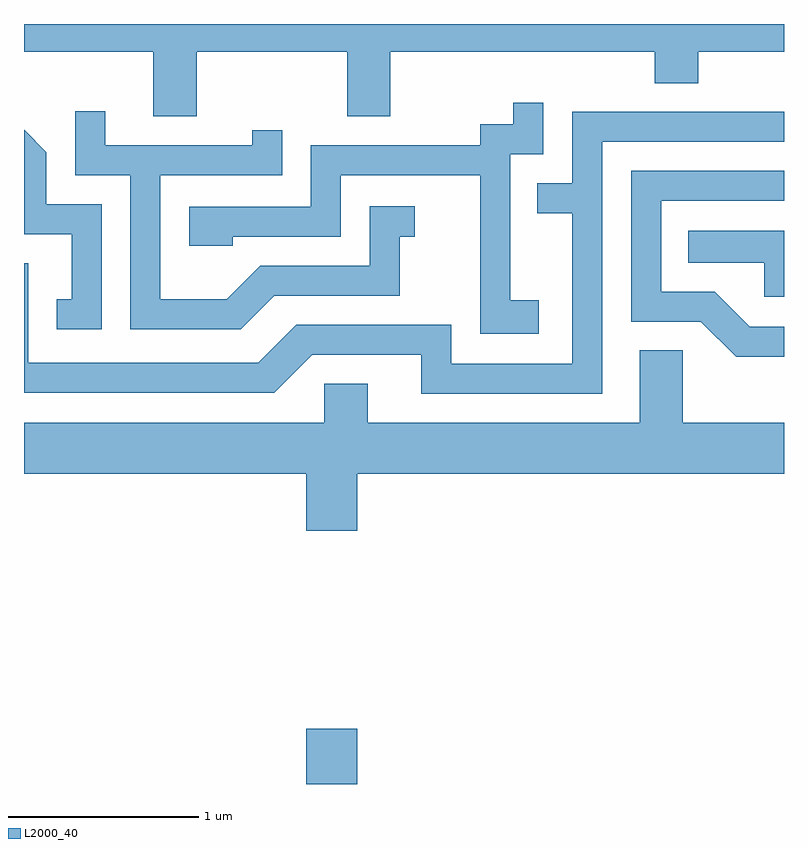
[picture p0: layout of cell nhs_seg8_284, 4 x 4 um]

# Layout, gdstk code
import gdstk
lib = gdstk.Library(unit=1e-6, precision=1e-09)
def R(c, l, rs):  # rectangles x0, y0, x1, y1
    for r in rs: c.add(gdstk.rectangle(r[:2], r[2:], *l))
def P(c, l, *ps):  # polygons
    for p in ps: c.add(gdstk.Polygon(p, *l))
L2000_40 = (2000, 40)

nhs_seg8_284 = lib.new_cell('nhs_seg8_284')
R(nhs_seg8_284, L2000_40, [(195.096,1830.342,195.364,1830.634)])
P(nhs_seg8_284, L2000_40, [(194.519,1834.196),(195.311,1834.196),(195.311,1833.856),(195.539,1833.856),(195.539,1834.196),(196.931,1834.196),(196.931,1834.031),(197.159,1834.031),(197.159,1834.196),(197.611,1834.196),(197.611,1834.342),(193.611,1834.342),(193.611,1834.196),(194.291,1834.196),(194.291,1833.856),(194.519,1833.856)],
  [(196.319,1832.889),(196.169,1832.889),(196.169,1833.656),(196.344,1833.656),(196.344,1833.928),(196.186,1833.928),(196.186,1833.814),(196.011,1833.814),(196.011,1833.704),(195.121,1833.704),(195.121,1833.379),(194.481,1833.379),(194.481,1833.176),(194.709,1833.176),(194.709,1833.221),(195.279,1833.221),(195.279,1833.546),(196.011,1833.546),(196.011,1832.711),(196.319,1832.711)],
  [(194.927,1832.911),(195.589,1832.911),(195.589,1833.221),(195.668,1833.221),(195.668,1833.384),(195.431,1833.384),(195.431,1833.069),(194.854,1833.069),(194.679,1832.894),(194.329,1832.894),(194.329,1833.546),(194.969,1833.546),(194.969,1833.783),(194.811,1833.783),(194.811,1833.704),(194.039,1833.704),(194.039,1833.883),(193.881,1833.883),(193.881,1833.546),(194.171,1833.546),(194.171,1832.736),(194.752,1832.736)],
  [(196.654,1833.721),(197.611,1833.721),(197.611,1833.879),(196.496,1833.879),(196.496,1833.504),(196.313,1833.504),(196.313,1833.346),(196.496,1833.346),(196.496,1832.554),(195.859,1832.554),(195.859,1832.759),(195.044,1832.759),(194.844,1832.559),(193.634,1832.559),(193.634,1833.084),(193.611,1833.084),(193.611,1832.401),(194.927,1832.401),(195.127,1832.601),(195.701,1832.601),(195.701,1832.396),(196.654,1832.396)],
  [(194.019,1833.394),(193.729,1833.394),(193.729,1833.667),(193.611,1833.785),(193.611,1833.236),(193.861,1833.236),(193.861,1832.894),(193.783,1832.894),(193.783,1832.736),(194.019,1832.736)],
  [(197.611,1832.749),(197.432,1832.749),(197.247,1832.934),(196.964,1832.934),(196.964,1833.411),(197.611,1833.411),(197.611,1833.569),(196.806,1833.569),(196.806,1832.776),(197.174,1832.776),(197.359,1832.591),(197.611,1832.591)],
  [(197.611,1833.254),(197.108,1833.254),(197.108,1833.086),(197.506,1833.086),(197.506,1832.906),(197.611,1832.906)],
  [(195.364,1831.976),(197.611,1831.976),(197.611,1832.244),(197.079,1832.244),(197.079,1832.624),(196.851,1832.624),(196.851,1832.244),(195.419,1832.244),(195.419,1832.449),(195.191,1832.449),(195.191,1832.244),(193.611,1832.244),(193.611,1831.976),(195.096,1831.976),(195.096,1831.676),(195.364,1831.676)])

lib.write_gds('nhs_seg8_284.gds')
